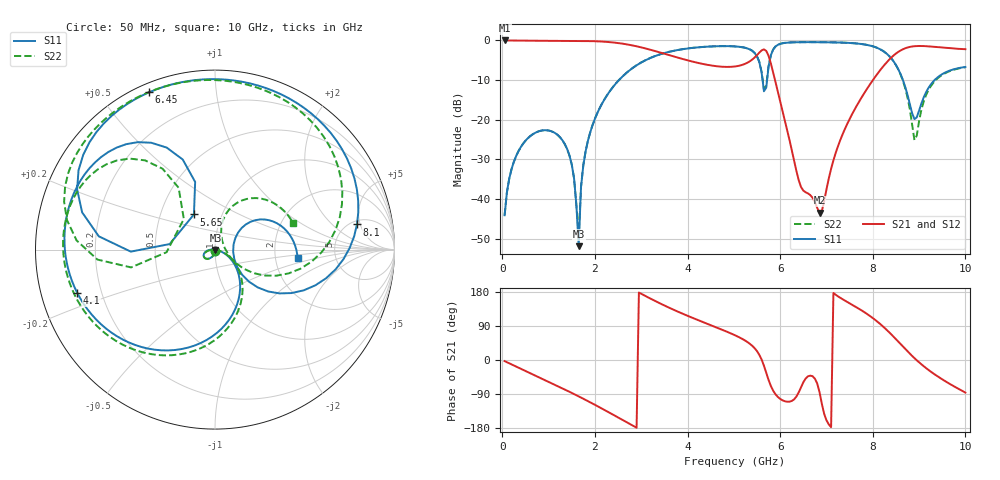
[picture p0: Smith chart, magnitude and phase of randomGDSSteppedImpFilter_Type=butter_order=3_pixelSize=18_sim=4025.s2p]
! freq	dB(S11)	phase(S11)	dB(S12)	phase(S12)
!  dB(S21)	phase(S21)	dB(S22)	phase(S22)
!S-par simulation data
#  GHz  S  DB  R 50
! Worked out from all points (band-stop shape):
!   200 points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, 50 MHz to 10 GHz, reference 50 ohm
!   highest |S21| = -0.01 dB at 50 MHz (marker M1); lowest = -43.5 dB at 6.85 GHz (marker M2)
!   |S21| within 3 dB of the highest: start of sweep to 3.399 GHz; 8.537 GHz to end of sweep (the widest 2 of 3)
!   lowest |S11| = -51.9 dB at 1.65 GHz (marker M3), VSWR 1.01, Z = 50.2 - j0.143 ohm
!   |S11| at or under -10 dB: start of sweep to 2.52 GHz; 5.62 GHz to 5.718 GHz (97.72 MHz wide, 1.72 % of centre); 8.652 GHz to 9.336 GHz (684.2 MHz wide, 7.61 % of centre)
!   |S22| runs from -49.4 to -0.4 dB; largest |S21 - S12| = 0
!   S11 on the Smith chart (normalised r, x): 50 MHz: 1.00, -0.01; 4.1 GHz: 0.11, -0.15; 5.65 GHz: 0.74, +0.30; 6.45 GHz: 0.04, +0.67; 8.1 GHz: 5.60, +4.42; 10 GHz: 2.68, -0.32
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0.05  -44.10 -90.4  -0.01 -2.9  -0.01 -2.9  -44.10 -90.3
0.4  -26.90 -113.3  -0.04 -23.0  -0.04 -23.0  -26.90 -112.6
1.1  -23.11 -154.7  -0.10 -63.2  -0.10 -63.2  -23.12 -152.5
1.5  -31.29 -178.4  -0.11 -86.9  -0.11 -86.9  -31.32 -173.8
1.65  -51.90 -34.0  -0.12 -96.0  -0.12 -96.0  -49.43 -56.3
1.75  -31.47 -15.2  -0.13 -102.3  -0.13 -102.3  -31.40 -15.3
2.3  -13.18 -51.0  -0.41 -138.1  -0.41 -138.1  -13.16 -47.7
3.4  -3.54 -124.0  -3.01 149.7  -3.01 149.7  -3.53 -118.1
4.1  -1.89 -162.5  -5.32 111.6  -5.32 111.6  -1.88 -154.8
5.05  -1.53 149.9  -6.52 63.9  -6.52 63.9  -1.52 160.4
5.45  -3.18 120.8  -4.29 31.0  -4.29 31.0  -3.15 133.2
5.65  -12.82 120.9  -2.25 -15.0  -2.25 -15.0  -12.27 135.5
5.9  -1.53 156.4  -10.50 -90.6  -10.50 -90.6  -1.50 168.7
6.45  -0.44 112.7  -36.96 -72.0  -36.96 -72.0  -0.43 127.5
6.7  -0.44 99.3  -39.68 -42.8  -39.68 -42.8  -0.43 115.0
6.85  -0.44 91.4  -43.46 -84.8  -43.46 -84.8  -0.44 107.7
7.35  -0.56 64.0  -23.64 160.3  -23.64 160.3  -0.55 82.0
8.1  -1.90 10.0  -8.42 101.2  -8.42 101.2  -1.89 29.2
8.35  -3.88 -14.4  -4.90 73.7  -4.90 73.7  -3.88 4.0
8.9  -19.84 -6.3  -1.46 4.8  -1.46 4.8  -25.13 7.4
9.25  -11.16 36.2  -1.54 -30.5  -1.54 -30.5  -11.59 67.8
10  -6.69 -5.8  -2.21 -86.0  -2.21 -86.0  -6.77 19.2
